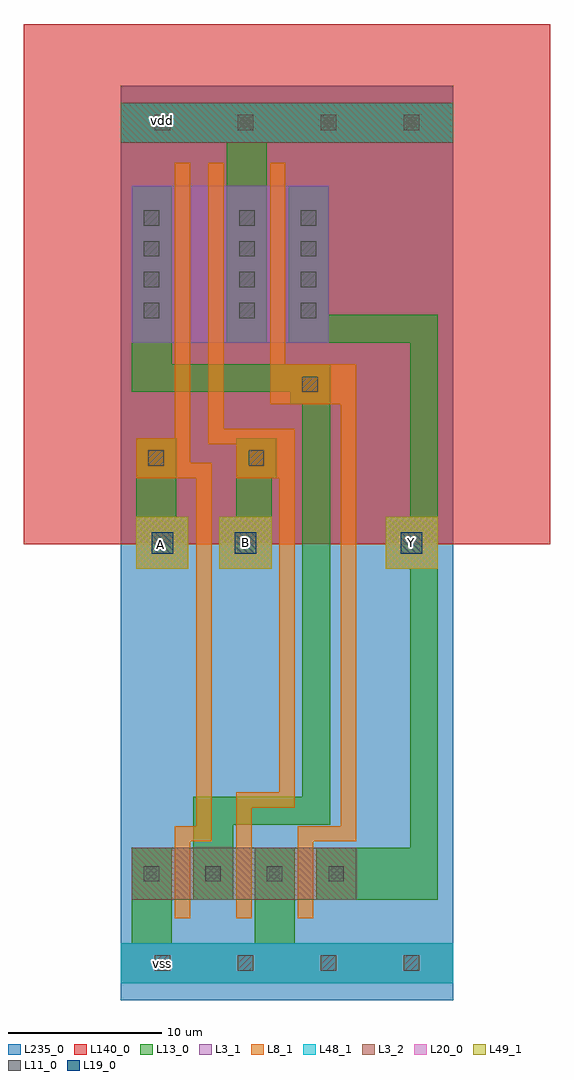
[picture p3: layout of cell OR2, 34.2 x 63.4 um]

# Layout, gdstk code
import gdstk
lib = gdstk.Library(unit=1e-6, precision=1e-09)
def R(c, l, rs):  # rectangles x0, y0, x1, y1
    for r in rs: c.add(gdstk.rectangle(r[:2], r[2:], *l))
def A(c, l, x, y, w, h, nx, ny, dx, dy):  # array of equal rectangles
    R(c, l, [(x+i*dx, y+j*dy, x+i*dx+w, y+j*dy+h) for i in range(nx) for j in range(ny)])
def P(c, l, *ps):  # polygons
    for p in ps: c.add(gdstk.Polygon(p, *l))
L3_1 = (3, 1)
L3_2 = (3, 2)
L8_1 = (8, 1)
L11_0 = (11, 0)
L13_0 = (13, 0)
L19_0 = (19, 0)
L20_0 = (20, 0)
L48_1 = (48, 1)
L49_1 = (49, 1)
L140_0 = (140, 0)
L235_0 = (235, 0)

or2 = lib.new_cell('OR2')
R(or2, L3_1, [(0,1.1,21.6,3.7), (0.7,42.7,13.5,52.9)])
R(or2, L3_2, [(0.7,6.5,15.3,9.9), (0,55.7,21.6,58.3)])
P(or2, L8_1, [(7.5,5.3),(7.5,13.5),(10.3,13.5),(10.3,33.9),(7.5,33.9),(7.5,36.1),(5.7,36.1),(5.7,54.4),(6.7,54.4),(6.7,37.1),(11.3,37.1),(11.3,12.5),(8.5,12.5),(8.5,5.3)],
  [(3.5,5.3),(3.5,11.3),(4.9,11.3),(4.9,33.9),(1,33.9),(1,36.5),(3.5,36.5),(3.5,54.4),(4.5,54.4),(4.5,34.9),(5.9,34.9),(5.9,10.3),(4.5,10.3),(4.5,5.3)],
  [(11.5,5.3),(11.5,11.3),(14.3,11.3),(14.3,38.7),(11.5,38.7),(9.7,38.7),(9.7,54.4),(10.7,54.4),(10.7,41.3),(15.3,41.3),(15.3,10.3),(12.5,10.3),(12.5,5.3)])
A(or2, L11_0, 7.6, 1.9, 1, 1, 3, 2, 5.4, 54.6)
A(or2, L11_0, 1.5, 7.7, 1, 1, 4, 1, 4, 0)
A(or2, L11_0, 1.5, 44.3, 1, 1, 1, 4, 0, 2)
A(or2, L11_0, 7.7, 44.3, 1, 1, 1, 4, 0, 2)
A(or2, L11_0, 11.7, 44.3, 1, 1, 1, 4, 0, 2)
R(or2, L11_0, [(2.2,1.9,3.2,2.9), (7.6,1.9,8.6,2.9), (1.8,34.7,2.8,35.7), (8.3,34.7,9.3,35.7), (11.8,39.5,12.8,40.5), (2.2,56.5,3.2,57.5), (2.2,56.5,3.2,57.5), (7.6,56.5,8.6,57.5), (7.6,56.5,8.6,57.5), (7.6,56.5,8.6,57.5)])
R(or2, L13_0, [(0,1.1,21.6,3.7), (0.7,3.7,3.3,9.9), (8.7,3.7,11.3,9.9), (1,28,4.4,31.4), (1,28,4.4,31.4), (6.4,28,9.8,31.4), (6.4,28,9.8,31.4), (17.2,28,20.6,31.4), (17.2,28,20.6,31.4), (1,31.4,3.6,36.5), (6.9,42.7,9.5,55.7), (10.9,42.7,13.5,52.9), (0,55.7,21.6,58.3)])
P(or2, L13_0, [(4.7,6.5),(4.7,13.2),(11.8,13.2),(11.8,38.7),(11,38.7),(11,39.5),(0.7,39.5),(0.7,52.9),(3.3,52.9),(3.3,41.3),(13.6,41.3),(13.6,11.4),(7.3,11.4),(7.3,6.5)],
  [(12.7,6.5),(12.7,9.9),(18.8,9.9),(18.8,42.7),(13.5,42.7),(13.5,44.5),(20.6,44.5),(20.6,11.4),(20.6,6.5)],
  [(7.5,31.4),(7.5,36.5),(10.1,36.5),(10.1,33.9),(9.8,33.9),(9.8,31.4)])
R(or2, L19_0, [(2,29,3.4,30.4), (7.4,29,8.8,30.4), (18.2,29,19.6,30.4), (18.2,29,19.6,30.4)])
R(or2, L20_0, [(1,28,4.4,31.4), (6.4,28,9.8,31.4), (17.2,28,20.6,31.4), (17.2,28,20.6,31.4)])
R(or2, L48_1, [(0,1.1,21.6,3.7), (0,55.7,21.6,58.3)])
R(or2, L49_1, [(1,28,4.4,31.4), (6.4,28,9.8,31.4), (17.2,28,20.6,31.4), (17.2,28,20.6,31.4)])
R(or2, L140_0, [(-6.3,29.6,27.9,63.4)])
R(or2, L235_0, [(0,0,21.6,59.4)])
or2.add(gdstk.Label('Y', (18.9,29.7), layer=49, texttype=0))
or2.add(gdstk.Label('Y', (18.9,29.7), layer=49, texttype=0))
or2.add(gdstk.Label('A', (2.6,29.6), layer=49, texttype=0))
or2.add(gdstk.Label('B', (8.1,29.7), layer=49, texttype=0))
or2.add(gdstk.Label('vss', (2.7,2.4), layer=48, texttype=0))
or2.add(gdstk.Label('vdd', (2.7,57.1), layer=48, texttype=0))

lib.write_gds('OR2.gds')
